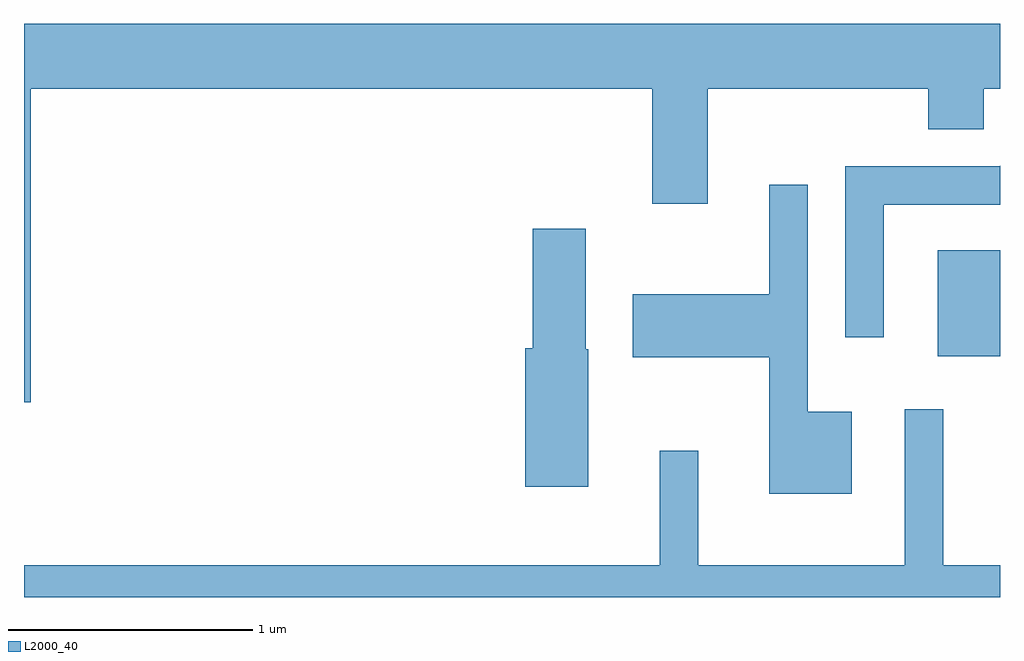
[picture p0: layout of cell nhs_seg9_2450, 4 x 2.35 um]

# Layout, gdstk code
import gdstk
lib = gdstk.Library(unit=1e-6, precision=1e-09)
def R(c, l, rs):  # rectangles x0, y0, x1, y1
    for r in rs: c.add(gdstk.rectangle(r[:2], r[2:], *l))
def P(c, l, *ps):  # polygons
    for p in ps: c.add(gdstk.Polygon(p, *l))
L2000_40 = (2000, 40)

nhs_seg9_2450 = lib.new_cell('nhs_seg9_2450')
R(nhs_seg9_2450, L2000_40, [(261.356,1957.421,261.611,1957.854)])
P(nhs_seg9_2450, L2000_40, [(257.639,1958.516),(260.186,1958.516),(260.186,1958.046),(260.414,1958.046),(260.414,1958.516),(261.316,1958.516),(261.316,1958.351),(261.544,1958.351),(261.544,1958.516),(261.611,1958.516),(261.611,1958.784),(257.611,1958.784),(257.611,1957.231),(257.639,1957.231)],
  [(261.134,1958.041),(261.611,1958.041),(261.611,1958.201),(261.609,1958.199),(260.976,1958.199),(260.976,1957.498),(261.134,1957.498)],
  [(261.004,1957.194),(260.824,1957.194),(260.824,1958.123),(260.666,1958.123),(260.666,1957.674),(260.106,1957.674),(260.106,1957.416),(260.666,1957.416),(260.666,1956.856),(261.004,1956.856)],
  [(259.924,1957.45),(259.914,1957.45),(259.914,1957.944),(259.696,1957.944),(259.696,1957.454),(259.666,1957.454),(259.666,1956.886),(259.924,1956.886)],
  [(261.611,1956.564),(261.379,1956.564),(261.379,1957.203),(261.221,1957.203),(261.221,1956.564),(260.374,1956.564),(260.374,1957.033),(260.216,1957.033),(260.216,1956.564),(257.611,1956.564),(257.611,1956.432),(261.611,1956.432)])

lib.write_gds('nhs_seg9_2450.gds')
